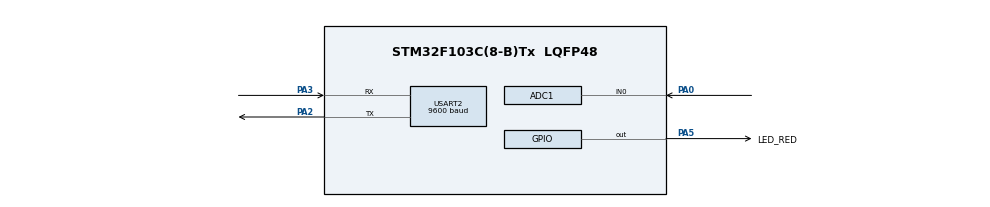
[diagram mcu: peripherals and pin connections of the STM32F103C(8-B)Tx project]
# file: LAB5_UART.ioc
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ADC1.Channel-0\#ChannelRegularConversion=ADC_CHANNEL_0
ADC1.NbrOfConversionFlag=1
ADC1.Rank-0\#ChannelRegularConversion=1
ADC1.SamplingTime-0\#ChannelRegularConversion=ADC_SAMPLETIME_55CYCLES_5
ADC1.master=1
Mcu.Family=STM32F1
Mcu.Name=STM32F103C(8-B)Tx
Mcu.Package=LQFP48
NVIC.PriorityGroup=NVIC_PRIORITYGROUP_4
NVIC.USART2_IRQn=true\:0\:0\:false\:false\:true\:true\:true\:true
PA0-WKUP.Signal=ADCx_IN0
PA13.Mode=Serial_Wire
PA13.Signal=SYS_JTMS-SWDIO
PA14.Mode=Serial_Wire
PA14.Signal=SYS_JTCK-SWCLK
PA2.Mode=Asynchronous
PA2.Signal=USART2_TX
PA3.Mode=Asynchronous
PA3.Signal=USART2_RX
PA5.GPIO_Label=LED_RED
PA5.Signal=GPIO_Output
ProjectManager.HeapSize=0x200
ProjectManager.StackSize=0x400
ProjectManager.TargetToolchain=MDK-ARM V5.32
RCC.APB1Freq_Value=8000000
RCC.APB2Freq_Value=8000000
SH.ADCx_IN0.0=ADC1_IN0,IN0
USART2.BaudRate=9600
USART2.VirtualMode=VM_ASYNC
board=custom

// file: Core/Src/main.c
/* USER CODE BEGIN Header */
/**
  ******************************************************************************
  * @file           : main.c
  * @brief          : Main program body
  ******************************************************************************
  * @attention
  *
  * Copyright (c) 2026 STMicroelectronics.
  * All rights reserved.
  *
  * This software is licensed under terms that can be found in the LICENSE file
  * in the root directory of this software component.
  * If no LICENSE file comes with this software, it is provided AS-IS.
  *
  ******************************************************************************
  */
/* USER CODE END Header */
#include "main.h"

/* USER CODE BEGIN Includes */
#include "uart_rx.h"
#include "command_parser.h"
#include "uart_communication.h"
#include "sensor.h"
/* USER CODE END Includes */

/* USER CODE BEGIN PD */
/* 1: cho phep tuong thich RSTCAL cua model Proteus; board that dat 0.
 * Ca hai che do deu thu calibration HAL, khong bo qua calibration. */
#define LAB5_PROTEUS_SIMULATION 1

/* USER CODE END PD */

ADC_HandleTypeDef hadc1;

UART_HandleTypeDef huart2;

/* USER CODE BEGIN PV */
/* Buffer nhan UART duoc quan ly rieng trong uart_rx.c. */
/* USER CODE END PV */

void SystemClock_Config(void);
static void MX_GPIO_Init(void);
static void MX_ADC1_Init(void);
static void MX_USART2_UART_Init(void);

int main(void)
{

  /* MCU Configuration--------------------------------------------------------*/

  /* Reset of all peripherals, Initializes the Flash interface and the Systick. */
  HAL_Init();

  /* Configure the system clock */
  SystemClock_Config();

  /* Initialize all configured peripherals */
  MX_GPIO_Init();
  MX_ADC1_Init();
  MX_USART2_UART_Init();
  /* USER CODE BEGIN 2 */
  /* Luon thu calibration chuan; chi xu ly RSTCAL rieng neu cho phep Proteus. */
  if (Sensor_Init(LAB5_PROTEUS_SIMULATION) != HAL_OK) {
      Error_Handler();
  }

  UART_RxInit();                 /* Khoi tao buffer va bat nhan byte dau tien. */
  CommandParser_Init();          /* Parser bat dau o trang thai cho dau '!'. */
  UART_Communication_Init();     /* Giao tiep bat dau o trang thai cho !RST#. */
  uint32_t last_led_ms = HAL_GetTick();
  /* USER CODE END 2 */

  /* Infinite loop */
  while (1)
  {

    /* USER CODE BEGIN 3 */
    UART_RxService();            /* Thu bat lai nhan neu UART gap loi. */
    command_parser_fsm();       /* Lay toi da 1 byte, tao lenh neu da du khung. */
    uart_communication_fsm();   /* Xu ly lenh va kiem tra timeout cho ACK. */

    /* LED doi muc moi 500 ms; khong dung HAL_Delay de main van xu ly UART. */
    uint32_t now = HAL_GetTick();
    if ((uint32_t)(now - last_led_ms) >= 500u) {
        last_led_ms = now;
        HAL_GPIO_TogglePin(LED_RED_GPIO_Port, LED_RED_Pin);
    }
  }
  /* USER CODE END 3 */
}

void SystemClock_Config(void)
{
  RCC_OscInitTypeDef RCC_OscInitStruct = {0};
  RCC_ClkInitTypeDef RCC_ClkInitStruct = {0};
  RCC_PeriphCLKInitTypeDef PeriphClkInit = {0};

  /** Initializes the RCC Oscillators according to the specified parameters
  * in the RCC_OscInitTypeDef structure.
  */
  RCC_OscInitStruct.OscillatorType = RCC_OSCILLATORTYPE_HSI;
  RCC_OscInitStruct.HSIState = RCC_HSI_ON;
  RCC_OscInitStruct.HSICalibrationValue = RCC_HSICALIBRATION_DEFAULT;
  RCC_OscInitStruct.PLL.PLLState = RCC_PLL_NONE;
  if (HAL_RCC_OscConfig(&RCC_OscInitStruct) != HAL_OK)
  {
    Error_Handler();
  }

  /** Initializes the CPU, AHB and APB buses clocks
  */
  RCC_ClkInitStruct.ClockType = RCC_CLOCKTYPE_HCLK|RCC_CLOCKTYPE_SYSCLK
                              |RCC_CLOCKTYPE_PCLK1|RCC_CLOCKTYPE_PCLK2;
  RCC_ClkInitStruct.SYSCLKSource = RCC_SYSCLKSOURCE_HSI;
  RCC_ClkInitStruct.AHBCLKDivider = RCC_SYSCLK_DIV1;
  RCC_ClkInitStruct.APB1CLKDivider = RCC_HCLK_DIV1;
  RCC_ClkInitStruct.APB2CLKDivider = RCC_HCLK_DIV1;

  if (HAL_RCC_ClockConfig(&RCC_ClkInitStruct, FLASH_LATENCY_0) != HAL_OK)
  {
    Error_Handler();
  }
  PeriphClkInit.PeriphClockSelection = RCC_PERIPHCLK_ADC;
  PeriphClkInit.AdcClockSelection = RCC_ADCPCLK2_DIV2;
  if (HAL_RCCEx_PeriphCLKConfig(&PeriphClkInit) != HAL_OK)
  {
    Error_Handler();
  }
}

static void MX_ADC1_Init(void)
{

  ADC_ChannelConfTypeDef sConfig = {0};

  /** Common config
  */
  hadc1.Instance = ADC1;
  hadc1.Init.ScanConvMode = ADC_SCAN_DISABLE;
  hadc1.Init.ContinuousConvMode = DISABLE;
  hadc1.Init.DiscontinuousConvMode = DISABLE;
  hadc1.Init.ExternalTrigConv = ADC_SOFTWARE_START;
  hadc1.Init.DataAlign = ADC_DATAALIGN_RIGHT;
  hadc1.Init.NbrOfConversion = 1;
  if (HAL_ADC_Init(&hadc1) != HAL_OK)
  {
    Error_Handler();
  }

  /** Configure Regular Channel
  */
  sConfig.Channel = ADC_CHANNEL_0;
  sConfig.Rank = ADC_REGULAR_RANK_1;
  sConfig.SamplingTime = ADC_SAMPLETIME_55CYCLES_5;
  if (HAL_ADC_ConfigChannel(&hadc1, &sConfig) != HAL_OK)
  {
    Error_Handler();
  }

}

static void MX_USART2_UART_Init(void)
{

  huart2.Instance = USART2;
  huart2.Init.BaudRate = 9600;
  huart2.Init.WordLength = UART_WORDLENGTH_8B;
  huart2.Init.StopBits = UART_STOPBITS_1;
  huart2.Init.Parity = UART_PARITY_NONE;
  huart2.Init.Mode = UART_MODE_TX_RX;
  huart2.Init.HwFlowCtl = UART_HWCONTROL_NONE;
  huart2.Init.OverSampling = UART_OVERSAMPLING_16;
  if (HAL_UART_Init(&huart2) != HAL_OK)
  {
    Error_Handler();
  }

}

static void MX_GPIO_Init(void)
{
  GPIO_InitTypeDef GPIO_InitStruct = {0};

  /* GPIO Ports Clock Enable */
  __HAL_RCC_GPIOA_CLK_ENABLE();

  /*Configure GPIO pin Output Level */
  HAL_GPIO_WritePin(LED_RED_GPIO_Port, LED_RED_Pin, GPIO_PIN_RESET);

  /*Configure GPIO pin : LED_RED_Pin */
  GPIO_InitStruct.Pin = LED_RED_Pin;
  GPIO_InitStruct.Mode = GPIO_MODE_OUTPUT_PP;
  GPIO_InitStruct.Pull = GPIO_NOPULL;
  GPIO_InitStruct.Speed = GPIO_SPEED_FREQ_LOW;
  HAL_GPIO_Init(LED_RED_GPIO_Port, &GPIO_InitStruct);

}

/* USER CODE BEGIN 4 */
/* Callback UART nam trong uart_rx.c; khong dinh nghia trung o day. */
/* USER CODE END 4 */

void Error_Handler(void)
{
  __disable_irq();
  while (1)
  {
  }
}
